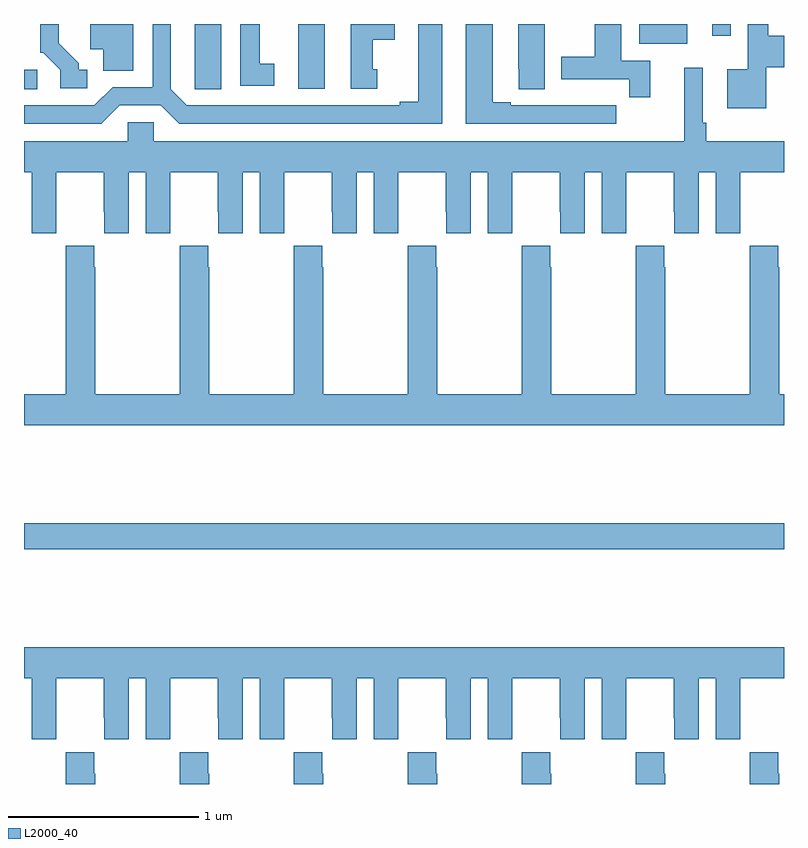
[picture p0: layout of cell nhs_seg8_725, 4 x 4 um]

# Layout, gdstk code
import gdstk
lib = gdstk.Library(unit=1e-6, precision=1e-09)
def R(c, l, rs):  # rectangles x0, y0, x1, y1
    for r in rs: c.add(gdstk.rectangle(r[:2], r[2:], *l))
def P(c, l, *ps):  # polygons
    for p in ps: c.add(gdstk.Polygon(p, *l))
L2000_40 = (2000, 40)

nhs_seg8_725 = lib.new_cell('nhs_seg8_725')
R(nhs_seg8_725, L2000_40, [(157,1161.136,161,1161.272), (157,1163.557,157.069,1163.658), (158.444,1163.559,158.584,1163.9), (160.238,1163.795,160.492,1163.9), (160.622,1163.838,160.719,1163.9)])
P(nhs_seg8_725, L2000_40, [(160.295,1163.706),(160.144,1163.706),(160.144,1163.9),(160.004,1163.9),(160.004,1163.727),(159.827,1163.727),(159.827,1163.61),(160.186,1163.61),(160.186,1163.514),(160.295,1163.514)],
  [(160.906,1163.672),(161,1163.672),(161,1163.838),(160.918,1163.838),(160.918,1163.9),(160.809,1163.9),(160.809,1163.662),(160.7,1163.662),(160.7,1163.456),(160.906,1163.456)],
  [(158.038,1163.9),(157.898,1163.9),(157.898,1163.665),(157.899,1163.665),(157.899,1163.557),(158.038,1163.557)],
  [(157.503,1163.472),(157.721,1163.472),(157.817,1163.376),(159.202,1163.376),(159.202,1163.9),(159.074,1163.9),(159.074,1163.492),(158.978,1163.492),(158.978,1163.472),(157.857,1163.472),(157.773,1163.556),(157.773,1163.9),(157.677,1163.9),(157.677,1163.568),(157.467,1163.568),(157.371,1163.472),(157,1163.472),(157,1163.376),(157.407,1163.376)],
  [(157.333,1163.658),(157.288,1163.658),(157.288,1163.693),(157.183,1163.798),(157.183,1163.9),(157.086,1163.9),(157.086,1163.748),(157.101,1163.748),(157.191,1163.658),(157.191,1163.562),(157.333,1163.562)],
  [(159.742,1163.9),(159.602,1163.9),(159.602,1163.665),(159.603,1163.665),(159.603,1163.557),(159.742,1163.557)],
  [(158.86,1163.661),(158.836,1163.661),(158.836,1163.816),(158.95,1163.816),(158.95,1163.9),(158.72,1163.9),(158.72,1163.559),(158.86,1163.559)],
  [(160.117,1163.472),(160.004,1163.472),(160.004,1163.473),(159.838,1163.473),(159.838,1163.472),(159.562,1163.472),(159.562,1163.487),(159.466,1163.487),(159.466,1163.9),(159.326,1163.9),(159.326,1163.376),(160.117,1163.376)],
  [(158.317,1163.69),(158.242,1163.69),(158.242,1163.9),(158.138,1163.9),(158.138,1163.574),(158.317,1163.574)],
  [(157.576,1163.9),(157.349,1163.9),(157.349,1163.768),(157.418,1163.768),(157.418,1163.653),(157.576,1163.653)],
  [(157.17,1162.912),(157.171,1162.912),(157.171,1163.12),(157.421,1163.12),(157.421,1162.912),(157.422,1162.912),(157.422,1162.8),(157.552,1162.8),(157.552,1163.12),(157.64,1163.12),(157.64,1162.8),(157.77,1162.8),(157.77,1162.912),(157.771,1162.912),(157.771,1163.12),(158.021,1163.12),(158.021,1162.912),(158.022,1162.912),(158.022,1162.8),(158.152,1162.8),(158.152,1163.12),(158.24,1163.12),(158.24,1162.8),(158.37,1162.8),(158.37,1162.912),(158.371,1162.912),(158.371,1163.12),(158.621,1163.12),(158.621,1162.912),(158.622,1162.912),(158.622,1162.8),(158.752,1162.8),(158.752,1163.12),(158.84,1163.12),(158.84,1162.8),(158.97,1162.8),(158.97,1162.912),(158.971,1162.912),(158.971,1163.12),(159.221,1163.12),(159.221,1162.912),(159.222,1162.912),(159.222,1162.8),(159.352,1162.8),(159.352,1163.12),(159.44,1163.12),(159.44,1162.8),(159.57,1162.8),(159.57,1162.912),(159.571,1162.912),(159.571,1163.12),(159.821,1163.12),(159.821,1162.912),(159.822,1162.912),(159.822,1162.8),(159.952,1162.8),(159.952,1163.12),(160.04,1163.12),(160.04,1162.8),(160.17,1162.8),(160.17,1162.912),(160.171,1162.912),(160.171,1163.12),(160.421,1163.12),(160.421,1162.912),(160.422,1162.912),(160.422,1162.8),(160.552,1162.8),(160.552,1163.12),(160.64,1163.12),(160.64,1162.8),(160.77,1162.8),(160.77,1162.912),(160.771,1162.912),(160.771,1163.12),(161,1163.12),(161,1163.284),(160.592,1163.284),(160.592,1163.38),(160.572,1163.38),(160.572,1163.671),(160.475,1163.671),(160.475,1163.284),(157.683,1163.284),(157.683,1163.382),(157.545,1163.382),(157.545,1163.284),(157,1163.284),(157,1163.12),(157.04,1163.12),(157.04,1162.8),(157.17,1162.8)],
  [(159.021,1162.732),(159.021,1162.619),(159.019,1162.619),(159.019,1161.952),(158.574,1161.952),(158.574,1162.619),(158.571,1162.619),(158.571,1162.732),(158.421,1162.732),(158.421,1162.619),(158.419,1162.619),(158.419,1161.952),(157.974,1161.952),(157.974,1162.619),(157.971,1162.619),(157.971,1162.732),(157.821,1162.732),(157.821,1162.619),(157.819,1162.619),(157.819,1161.952),(157.374,1161.952),(157.374,1162.619),(157.371,1162.619),(157.371,1162.732),(157.221,1162.732),(157.221,1162.619),(157.219,1162.619),(157.219,1161.952),(157,1161.952),(157,1161.788),(161,1161.788),(161,1161.952),(160.974,1161.952),(160.974,1162.619),(160.971,1162.619),(160.971,1162.732),(160.821,1162.732),(160.821,1162.619),(160.819,1162.619),(160.819,1161.952),(160.374,1161.952),(160.374,1162.619),(160.371,1162.619),(160.371,1162.732),(160.221,1162.732),(160.221,1162.619),(160.219,1162.619),(160.219,1161.952),(159.774,1161.952),(159.774,1162.619),(159.771,1162.619),(159.771,1162.732),(159.621,1162.732),(159.621,1162.619),(159.619,1162.619),(159.619,1161.952),(159.174,1161.952),(159.174,1162.619),(159.171,1162.619),(159.171,1162.732)],
  [(157,1160.456),(157.04,1160.456),(157.04,1160.136),(157.17,1160.136),(157.17,1160.248),(157.171,1160.248),(157.171,1160.456),(157.421,1160.456),(157.421,1160.248),(157.422,1160.248),(157.422,1160.136),(157.552,1160.136),(157.552,1160.456),(157.64,1160.456),(157.64,1160.136),(157.77,1160.136),(157.77,1160.248),(157.771,1160.248),(157.771,1160.456),(158.021,1160.456),(158.021,1160.248),(158.022,1160.248),(158.022,1160.136),(158.152,1160.136),(158.152,1160.456),(158.24,1160.456),(158.24,1160.136),(158.37,1160.136),(158.37,1160.248),(158.371,1160.248),(158.371,1160.456),(158.621,1160.456),(158.621,1160.248),(158.622,1160.248),(158.622,1160.136),(158.752,1160.136),(158.752,1160.456),(158.84,1160.456),(158.84,1160.136),(158.97,1160.136),(158.97,1160.248),(158.971,1160.248),(158.971,1160.456),(159.221,1160.456),(159.221,1160.248),(159.222,1160.248),(159.222,1160.136),(159.352,1160.136),(159.352,1160.456),(159.44,1160.456),(159.44,1160.136),(159.57,1160.136),(159.57,1160.248),(159.571,1160.248),(159.571,1160.456),(159.821,1160.456),(159.821,1160.248),(159.822,1160.248),(159.822,1160.136),(159.952,1160.136),(159.952,1160.456),(160.04,1160.456),(160.04,1160.136),(160.17,1160.136),(160.17,1160.248),(160.171,1160.248),(160.171,1160.456),(160.421,1160.456),(160.421,1160.248),(160.422,1160.248),(160.422,1160.136),(160.552,1160.136),(160.552,1160.456),(160.64,1160.456),(160.64,1160.136),(160.77,1160.136),(160.77,1160.248),(160.771,1160.248),(160.771,1160.456),(161,1160.456),(161,1160.62),(157,1160.62)],
  [(159.774,1159.955),(159.771,1159.955),(159.771,1160.068),(159.621,1160.068),(159.621,1159.955),(159.619,1159.955),(159.619,1159.9),(159.774,1159.9)],
  [(157.374,1159.955),(157.371,1159.955),(157.371,1160.068),(157.221,1160.068),(157.221,1159.955),(157.219,1159.955),(157.219,1159.9),(157.374,1159.9)],
  [(157.974,1159.955),(157.971,1159.955),(157.971,1160.068),(157.821,1160.068),(157.821,1159.955),(157.819,1159.955),(157.819,1159.9),(157.974,1159.9)],
  [(158.574,1159.955),(158.571,1159.955),(158.571,1160.068),(158.421,1160.068),(158.421,1159.955),(158.419,1159.955),(158.419,1159.9),(158.574,1159.9)],
  [(159.174,1159.955),(159.171,1159.955),(159.171,1160.068),(159.021,1160.068),(159.021,1159.955),(159.019,1159.955),(159.019,1159.9),(159.174,1159.9)],
  [(160.374,1159.955),(160.371,1159.955),(160.371,1160.068),(160.221,1160.068),(160.221,1159.955),(160.219,1159.955),(160.219,1159.9),(160.374,1159.9)],
  [(160.974,1159.955),(160.971,1159.955),(160.971,1160.068),(160.821,1160.068),(160.821,1159.955),(160.819,1159.955),(160.819,1159.9),(160.974,1159.9)])

lib.write_gds('nhs_seg8_725.gds')
